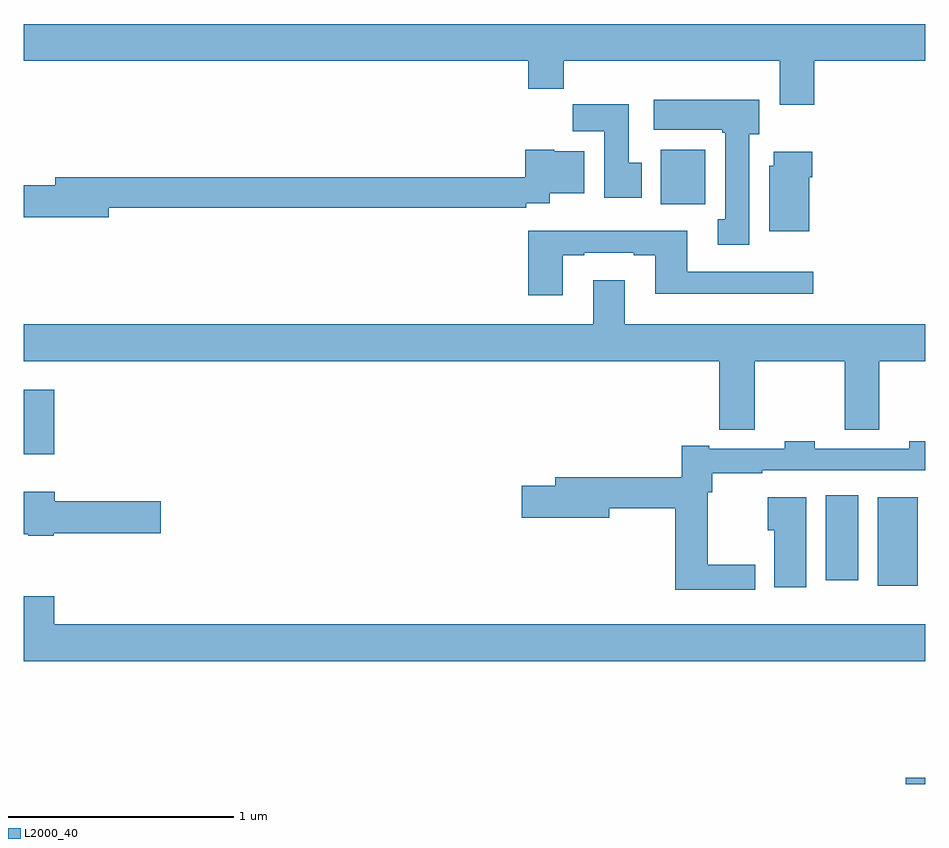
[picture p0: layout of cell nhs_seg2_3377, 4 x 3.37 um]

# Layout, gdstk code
import gdstk
lib = gdstk.Library(unit=1e-6, precision=1e-09)
def R(c, l, rs):  # rectangles x0, y0, x1, y1
    for r in rs: c.add(gdstk.rectangle(r[:2], r[2:], *l))
def P(c, l, *ps):  # polygons
    for p in ps: c.add(gdstk.Polygon(p, *l))
L2000_40 = (2000, 40)

nhs_seg2_3377 = lib.new_cell('nhs_seg2_3377')
R(nhs_seg2_3377, L2000_40, [(292.913,605.8,293,605.828), (292.79,606.68,292.966,607.072), (292.559,606.705,292.702,607.081), (289,607.262,289.136,607.549), (291.827,608.372,292.024,608.614)])
P(nhs_seg2_3377, L2000_40, [(292.508,609.008),(293,609.008),(293,609.172),(289,609.172),(289,609.008),(291.239,609.008),(291.239,608.884),(291.395,608.884),(291.395,609.008),(292.355,609.008),(292.355,608.814),(292.508,608.814)],
  [(292.219,608.682),(292.264,608.682),(292.264,608.836),(291.795,608.836),(291.795,608.702),(292.099,608.702),(292.099,608.689),(292.112,608.689),(292.112,608.306),(292.079,608.306),(292.079,608.193),(292.219,608.193)],
  [(291.742,608.556),(291.685,608.556),(291.685,608.815),(291.436,608.815),(291.436,608.696),(291.575,608.696),(291.575,608.4),(291.742,608.4)],
  [(289.378,608.356),(291.23,608.356),(291.23,608.376),(291.333,608.376),(291.333,608.42),(291.487,608.42),(291.487,608.608),(291.354,608.608),(291.354,608.614),(291.225,608.614),(291.225,608.492),(289.139,608.492),(289.139,608.456),(289,608.456),(289,608.314),(289.378,608.314)],
  [(292.486,608.492),(292.499,608.492),(292.499,608.605),(292.328,608.605),(292.328,608.544),(292.307,608.544),(292.307,608.252),(292.486,608.252)],
  [(291.391,608.145),(291.487,608.145),(291.487,608.157),(291.707,608.157),(291.707,608.145),(291.803,608.145),(291.803,607.976),(292.504,607.976),(292.504,608.073),(291.943,608.073),(291.943,608.254),(291.239,608.254),(291.239,607.968),(291.391,607.968)],
  [(292.244,607.676),(292.642,607.676),(292.642,607.372),(292.796,607.372),(292.796,607.676),(293,607.676),(293,607.84),(291.667,607.84),(291.667,608.035),(291.527,608.035),(291.527,607.84),(289,607.84),(289,607.676),(292.085,607.676),(292.085,607.372),(292.244,607.372)],
  [(292.246,606.772),(292.036,606.772),(292.036,607.094),(292.055,607.094),(292.055,607.179),(292.277,607.179),(292.277,607.191),(293,607.191),(293,607.32),(292.929,607.32),(292.929,607.287),(292.509,607.287),(292.509,607.32),(292.377,607.32),(292.377,607.287),(292.042,607.287),(292.042,607.3),(291.919,607.3),(291.919,607.16),(291.359,607.16),(291.359,607.124),(291.21,607.124),(291.21,606.982),(291.598,606.982),(291.598,607.024),(291.89,607.024),(291.89,606.662),(292.246,606.662)],
  [(289.134,606.913),(289.609,606.913),(289.609,607.055),(289.138,607.055),(289.138,607.096),(289,607.096),(289,606.908),(289.02,606.908),(289.02,606.902),(289.134,606.902)],
  [(292.471,607.072),(292.301,607.072),(292.301,606.925),(292.331,606.925),(292.331,606.672),(292.471,606.672)],
  [(293,606.508),(289.136,606.508),(289.136,606.632),(289,606.632),(289,606.344),(293,606.344)])

lib.write_gds('nhs_seg2_3377.gds')
